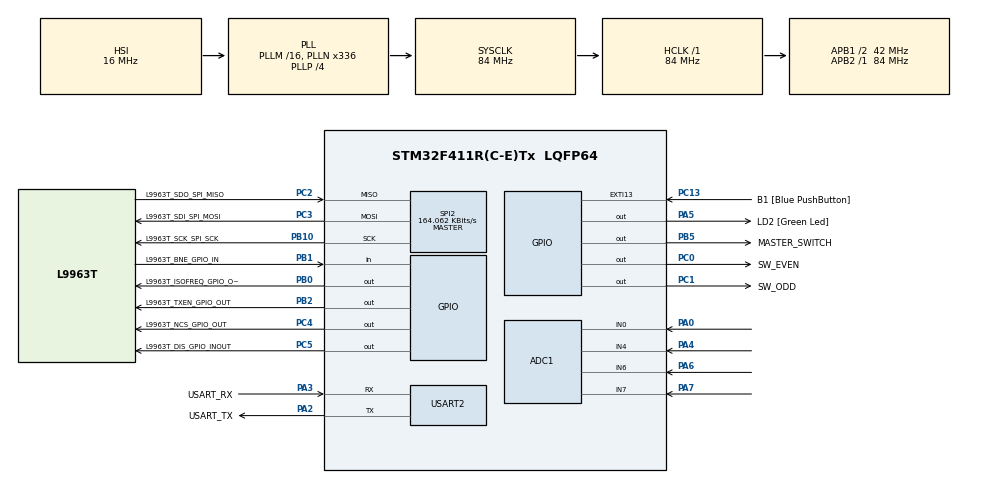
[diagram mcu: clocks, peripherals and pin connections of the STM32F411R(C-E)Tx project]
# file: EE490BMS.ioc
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ADC1.Channel-3\#ChannelRegularConversion=ADC_CHANNEL_0
ADC1.Channel-4\#ChannelRegularConversion=ADC_CHANNEL_4
ADC1.Channel-5\#ChannelRegularConversion=ADC_CHANNEL_6
ADC1.Channel-6\#ChannelRegularConversion=ADC_CHANNEL_7
ADC1.ContinuousConvMode=ENABLE
ADC1.DMAContinuousRequests=ENABLE
ADC1.DiscontinuousConvMode=DISABLE
ADC1.EOCSelection=ADC_EOC_SINGLE_CONV
ADC1.ExternalTrigConv=ADC_SOFTWARE_START
ADC1.InjNumberOfConversion=0
ADC1.NbrOfConversion=4
ADC1.NbrOfConversionFlag=1
ADC1.Rank-3\#ChannelRegularConversion=1
ADC1.Rank-4\#ChannelRegularConversion=2
ADC1.Rank-5\#ChannelRegularConversion=3
ADC1.Rank-6\#ChannelRegularConversion=4
ADC1.SamplingTime-3\#ChannelRegularConversion=ADC_SAMPLETIME_3CYCLES
ADC1.SamplingTime-4\#ChannelRegularConversion=ADC_SAMPLETIME_3CYCLES
ADC1.SamplingTime-5\#ChannelRegularConversion=ADC_SAMPLETIME_3CYCLES
ADC1.SamplingTime-6\#ChannelRegularConversion=ADC_SAMPLETIME_3CYCLES
ADC1.ScanConvMode=ENABLE
ADC1.master=1
Dma.ADC1.0.Direction=DMA_PERIPH_TO_MEMORY
Dma.ADC1.0.FIFOMode=DMA_FIFOMODE_DISABLE
Dma.ADC1.0.Instance=DMA2_Stream0
Dma.ADC1.0.MemDataAlignment=DMA_MDATAALIGN_WORD
Dma.ADC1.0.MemInc=DMA_MINC_ENABLE
Dma.ADC1.0.Mode=DMA_CIRCULAR
Dma.ADC1.0.PeriphDataAlignment=DMA_PDATAALIGN_WORD
Dma.ADC1.0.PeriphInc=DMA_PINC_DISABLE
Dma.ADC1.0.Priority=DMA_PRIORITY_LOW
Dma.Request0=ADC1
FREERTOS.Tasks01=defaultTask,24,128,StartDefaultTask,Default,NULL,Dynamic,NULL,NULL
FREERTOS.configUSE_NEWLIB_REENTRANT=1
Mcu.Family=STM32F4
Mcu.Name=STM32F411R(C-E)Tx
Mcu.Package=LQFP64
NVIC.DMA2_Stream0_IRQn=true\:5\:0\:false\:false\:true\:true\:false\:true\:true
NVIC.PriorityGroup=NVIC_PRIORITYGROUP_4
NVIC.TIM5_IRQn=true\:15\:0\:false\:false\:true\:false\:false\:true\:true
NVIC.TimeBase=TIM5_IRQn
NVIC.TimeBaseIP=TIM5
PA0-WKUP.Signal=ADCx_IN0
PA13.GPIO_Label=TMS
PA13.Mode=Serial_Wire
PA13.Signal=SYS_JTMS-SWDIO
PA14.GPIO_Label=TCK
PA14.Mode=Serial_Wire
PA14.Signal=SYS_JTCK-SWCLK
PA2.GPIO_Label=USART_TX
PA2.Mode=Asynchronous
PA2.Signal=USART2_TX
PA3.GPIO_Label=USART_RX
PA3.Mode=Asynchronous
PA3.Signal=USART2_RX
PA4.Signal=ADCx_IN4
PA5.GPIO_Label=LD2 [Green Led]
PA5.Signal=GPIO_Output
PA6.Signal=ADCx_IN6
PA7.Signal=ADCx_IN7
PB0.GPIO_Label=L9963T_ISOFREQ_GPIO_OUT
PB0.Signal=GPIO_Output
PB1.GPIO_Label=L9963T_BNE_GPIO_IN
PB1.Signal=GPIO_Input
PB10.GPIO_Label=L9963T_SCK_SPI_SCK
PB10.Mode=Full_Duplex_Master
PB10.Signal=SPI2_SCK
PB2.GPIO_Label=L9963T_TXEN_GPIO_OUT
PB2.Signal=GPIO_Output
PB3.GPIO_Label=SWO
PB3.Signal=SYS_JTDO-SWO
PB5.GPIO_Label=MASTER_SWITCH
PB5.Signal=GPIO_Output
PC0.GPIO_Label=SW_EVEN
PC0.Signal=GPIO_Output
PC1.GPIO_Label=SW_ODD
PC1.Signal=GPIO_Output
PC13-ANTI_TAMP.GPIO_Label=B1 [Blue PushButton]
PC13-ANTI_TAMP.GPIO_ModeDefaultEXTI=GPIO_MODE_IT_FALLING
PC13-ANTI_TAMP.Signal=GPXTI13
PC14-OSC32_IN.Signal=RCC_OSC32_IN
PC15-OSC32_OUT.Signal=RCC_OSC32_OUT
PC2.GPIO_Label=L9963T_SDO_SPI_MISO
PC2.Mode=Full_Duplex_Master
PC2.Signal=SPI2_MISO
PC3.GPIO_Label=L9963T_SDI_SPI_MOSI
PC3.Mode=Full_Duplex_Master
PC3.Signal=SPI2_MOSI
PC4.GPIO_Label=L9963T_NCS_GPIO_OUT
PC4.Signal=GPIO_Output
PC5.GPIO_Label=L9963T_DIS_GPIO_INOUT
PC5.Signal=GPIO_Output
PH0\ -\ OSC_IN.Mode=HSE-External-Oscillator
PH0\ -\ OSC_IN.Signal=RCC_OSC_IN
PH1\ -\ OSC_OUT.Mode=HSE-External-Oscillator
PH1\ -\ OSC_OUT.Signal=RCC_OSC_OUT
ProjectManager.HeapSize=0x200
ProjectManager.StackSize=0x400
ProjectManager.TargetToolchain=STM32CubeIDE
RCC.48MHZClocksFreq_Value=84000000
RCC.AHBFreq_Value=84000000
RCC.APB1CLKDivider=RCC_HCLK_DIV2
RCC.APB1Freq_Value=42000000
RCC.APB1TimFreq_Value=84000000
RCC.APB2Freq_Value=84000000
RCC.APB2TimFreq_Value=84000000
RCC.CortexFreq_Value=84000000
RCC.FLatency-AdvancedSettings=FLASH_LATENCY_2
RCC.HCLKFreq_Value=84000000
RCC.HSE_VALUE=8000000
RCC.HSI_VALUE=16000000
RCC.LSE_VALUE=32768
RCC.PLLN=336
RCC.PLLP=RCC_PLLP_DIV4
RCC.SYSCLKFreq_VALUE=84000000
RCC.SYSCLKSource=RCC_SYSCLKSOURCE_PLLCLK
RCC.VCOOutputFreq_Value=336000000
SH.ADCx_IN0.0=ADC1_IN0,IN0
SH.ADCx_IN4.0=ADC1_IN4,IN4
SH.ADCx_IN6.0=ADC1_IN6,IN6
SH.ADCx_IN7.0=ADC1_IN7,IN7
SPI2.BaudRatePrescaler=SPI_BAUDRATEPRESCALER_256
SPI2.CLKPhase=SPI_PHASE_2EDGE
SPI2.CalculateBaudRate=164.062 KBits/s
SPI2.Direction=SPI_DIRECTION_2LINES
SPI2.Mode=SPI_MODE_MASTER
SPI2.VirtualType=VM_MASTER
TIM1.Period=1000-1
TIM1.Prescaler=84-1
USART2.VirtualMode=VM_ASYNC
VP_FREERTOS_VS_CMSIS_V2.Mode=CMSIS_V2
VP_SYS_VS_tim5.Mode=TIM5
VP_TIM1_VS_ClockSourceINT.Mode=Internal
board=NUCLEO-F411RE

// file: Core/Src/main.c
/* USER CODE BEGIN Header */
/**
  ******************************************************************************
  * @file           : main.c
  * @brief          : Main program body
  ******************************************************************************
  * @attention
  *
  * Copyright (c) 2026 STMicroelectronics.
  * All rights reserved.
  *
  * This software is licensed under terms that can be found in the LICENSE file
  * in the root directory of this software component.
  * If no LICENSE file comes with this software, it is provided AS-IS.
  *
  ******************************************************************************
  */
/* USER CODE END Header */
#include "main.h"
#include "cmsis_os.h"

/* USER CODE BEGIN Includes */
#include "L9963E_utils.h"
#include "bms_app.h"
#include <stdint.h>
#include "THERMISTOR.h"
/* USER CODE END Includes */

ADC_HandleTypeDef hadc1;
DMA_HandleTypeDef hdma_adc1;

SPI_HandleTypeDef hspi2;

TIM_HandleTypeDef htim1;

UART_HandleTypeDef huart2;

/* Definitions for defaultTask */
osThreadId_t defaultTaskHandle;
const osThreadAttr_t defaultTask_attributes = {
  .name = "defaultTask",
  .stack_size = 128 * 4,
  .priority = (osPriority_t) osPriorityNormal,
};

void SystemClock_Config(void);
static void MX_GPIO_Init(void);
static void MX_DMA_Init(void);
static void MX_USART2_UART_Init(void);
static void MX_TIM1_Init(void);
static void MX_SPI2_Init(void);
static void MX_ADC1_Init(void);
void StartDefaultTask(void *argument);

int main(void)
{

  /* MCU Configuration--------------------------------------------------------*/

  /* Reset of all peripherals, Initializes the Flash interface and the Systick. */
  HAL_Init();

  /* Configure the system clock */
  SystemClock_Config();

  /* Initialize all configured peripherals */
  MX_GPIO_Init();
  MX_DMA_Init();
  MX_USART2_UART_Init();
  MX_TIM1_Init();
  MX_SPI2_Init();
  MX_ADC1_Init();
  /* USER CODE BEGIN 2 */

  char telemetryBuffer[256];
  int telemetryLength;
  uint32_t adcBuffer[4] = {0};	//0 is shunt current, 1-3 is temp
  float current = 0;
  float temp1 = 0;
  float temp2 = 0;
  float temp3 = 0;

  // Flash LED on board for reference and startup
  HAL_GPIO_WritePin(LD2_GPIO_Port, LD2_Pin, GPIO_PIN_SET);
  HAL_Delay(100);
  HAL_GPIO_WritePin(LD2_GPIO_Port,  LD2_Pin, GPIO_PIN_RESET);

  //Initialize global variable states
  BMS_App_Init();

  //Initialize and address the L9963E AFE.
  L9963E_utils_init();

  //Known SOC starting value
  BMS_App_SetSocReference(80.0f);

  HAL_GPIO_WritePin(SW_EVEN_GPIO_Port, SW_EVEN_Pin, GPIO_PIN_RESET);
  HAL_GPIO_WritePin(SW_ODD_GPIO_Port, SW_ODD_Pin, GPIO_PIN_RESET);

  //Used to test switching circuit

//  while (1) {
//	  HAL_GPIO_WritePin(SW_EVEN_GPIO_Port, SW_EVEN_Pin, GPIO_PIN_SET);
//	  HAL_Delay(10);
//	  HAL_GPIO_WritePin(SW_EVEN_GPIO_Port, SW_EVEN_Pin, GPIO_PIN_RESET);
//	  HAL_Delay(10);
//
//	  HAL_GPIO_WritePin(SW_ODD_GPIO_Port, SW_ODD_Pin, GPIO_PIN_SET);
//	  HAL_Delay(10);
//	  HAL_GPIO_WritePin(SW_ODD_GPIO_Port, SW_ODD_Pin, GPIO_PIN_RESET);
//	  HAL_Delay(10);
//  }

  HAL_NVIC_DisableIRQ(DMA2_Stream0_IRQn);
  HAL_ADC_Start_DMA(&hadc1, adcBuffer, 4);	//Start ADC with DMA of size 4

  // Super loop
  while (1)
  {
	  current = (adcBuffer[0]/(4096e0f))*6000;	// To mA
	  temp1 = Thermistor_ReadF(adcBuffer[1], 1);
	  temp2 = Thermistor_ReadF(adcBuffer[2], 0);
	  temp3 = Thermistor_ReadF(adcBuffer[3], 0);

	  BMS_App_SetExternalMeasurements(current, temp1, temp2, temp3);

	  BMS_App_UpdateAll();

	  const BMS_FaultData_t *faultData = BMS_App_GetFaultData();

	  if ((faultData != NULL) && !faultData->faultActive &&
			  temp1 < 85 && temp2 < 85 && temp3 < 85 && current < 2000)
	  {
	      HAL_GPIO_WritePin(MASTER_SWITCH_GPIO_Port, MASTER_SWITCH_Pin, GPIO_PIN_SET);
	  }
	  else
	  {
	      HAL_GPIO_WritePin(MASTER_SWITCH_GPIO_Port, MASTER_SWITCH_Pin, GPIO_PIN_RESET);
	  }

	  telemetryLength = BMS_App_FormatTelemetry(telemetryBuffer, sizeof(telemetryBuffer));

      if (telemetryLength > 0)
      {
          /*
           * snprintf() returns the number of characters
           * that would have been written.
           *
           * Limit transmission to the bytes actually
           * stored in telemetryBuffer.
           */
          uint16_t transmitLength = (telemetryLength < (int)sizeof(telemetryBuffer)) ?
              (uint16_t)telemetryLength :
              (uint16_t) (sizeof(telemetryBuffer) - 1U);

          HAL_UART_Transmit(&huart2, (uint8_t *)telemetryBuffer, transmitLength, HAL_MAX_DELAY);
      }

      //Keep Coulomb-counter servicing within the intended approximately one-second interval.
	  HAL_GPIO_WritePin(SW_EVEN_GPIO_Port, SW_EVEN_Pin, GPIO_PIN_SET);
	  HAL_Delay(10);
	  HAL_GPIO_WritePin(SW_EVEN_GPIO_Port, SW_EVEN_Pin, GPIO_PIN_RESET);
	  HAL_Delay(10);

	  HAL_GPIO_WritePin(SW_ODD_GPIO_Port, SW_ODD_Pin, GPIO_PIN_SET);
	  HAL_Delay(10);
	  HAL_GPIO_WritePin(SW_ODD_GPIO_Port, SW_ODD_Pin, GPIO_PIN_RESET);
	  HAL_Delay(10);
  }

  /* USER CODE END 2 */

  /* Init scheduler */
  osKernelInitialize();

  /* Create the thread(s) */
  /* creation of defaultTask */
  defaultTaskHandle = osThreadNew(StartDefaultTask, NULL, &defaultTask_attributes);

  /* Start scheduler */
  osKernelStart();

  /* We should never get here as control is now taken by the scheduler */

  /* Infinite loop */
  while (1)
  {

  }
}

void SystemClock_Config(void)
{
  RCC_OscInitTypeDef RCC_OscInitStruct = {0};
  RCC_ClkInitTypeDef RCC_ClkInitStruct = {0};

  /** Configure the main internal regulator output voltage
  */
  __HAL_RCC_PWR_CLK_ENABLE();
  __HAL_PWR_VOLTAGESCALING_CONFIG(PWR_REGULATOR_VOLTAGE_SCALE1);

  /** Initializes the RCC Oscillators according to the specified parameters
  * in the RCC_OscInitTypeDef structure.
  */
  RCC_OscInitStruct.OscillatorType = RCC_OSCILLATORTYPE_HSI;
  RCC_OscInitStruct.HSIState = RCC_HSI_ON;
  RCC_OscInitStruct.HSICalibrationValue = RCC_HSICALIBRATION_DEFAULT;
  RCC_OscInitStruct.PLL.PLLState = RCC_PLL_ON;
  RCC_OscInitStruct.PLL.PLLSource = RCC_PLLSOURCE_HSI;
  RCC_OscInitStruct.PLL.PLLM = 16;
  RCC_OscInitStruct.PLL.PLLN = 336;
  RCC_OscInitStruct.PLL.PLLP = RCC_PLLP_DIV4;
  RCC_OscInitStruct.PLL.PLLQ = 4;
  if (HAL_RCC_OscConfig(&RCC_OscInitStruct) != HAL_OK)
  {
    Error_Handler();
  }

  /** Initializes the CPU, AHB and APB buses clocks
  */
  RCC_ClkInitStruct.ClockType = RCC_CLOCKTYPE_HCLK|RCC_CLOCKTYPE_SYSCLK
                              |RCC_CLOCKTYPE_PCLK1|RCC_CLOCKTYPE_PCLK2;
  RCC_ClkInitStruct.SYSCLKSource = RCC_SYSCLKSOURCE_PLLCLK;
  RCC_ClkInitStruct.AHBCLKDivider = RCC_SYSCLK_DIV1;
  RCC_ClkInitStruct.APB1CLKDivider = RCC_HCLK_DIV2;
  RCC_ClkInitStruct.APB2CLKDivider = RCC_HCLK_DIV1;

  if (HAL_RCC_ClockConfig(&RCC_ClkInitStruct, FLASH_LATENCY_2) != HAL_OK)
  {
    Error_Handler();
  }
}

static void MX_ADC1_Init(void)
{

  ADC_ChannelConfTypeDef sConfig = {0};

  /** Configure the global features of the ADC (Clock, Resolution, Data Alignment and number of conversion)
  */
  hadc1.Instance = ADC1;
  hadc1.Init.ClockPrescaler = ADC_CLOCK_SYNC_PCLK_DIV4;
  hadc1.Init.Resolution = ADC_RESOLUTION_12B;
  hadc1.Init.ScanConvMode = ENABLE;
  hadc1.Init.ContinuousConvMode = ENABLE;
  hadc1.Init.DiscontinuousConvMode = DISABLE;
  hadc1.Init.ExternalTrigConvEdge = ADC_EXTERNALTRIGCONVEDGE_NONE;
  hadc1.Init.ExternalTrigConv = ADC_SOFTWARE_START;
  hadc1.Init.DataAlign = ADC_DATAALIGN_RIGHT;
  hadc1.Init.NbrOfConversion = 4;
  hadc1.Init.DMAContinuousRequests = ENABLE;
  hadc1.Init.EOCSelection = ADC_EOC_SINGLE_CONV;
  if (HAL_ADC_Init(&hadc1) != HAL_OK)
  {
    Error_Handler();
  }

  /** Configure for the selected ADC regular channel its corresponding rank in the sequencer and its sample time.
  */
  sConfig.Channel = ADC_CHANNEL_0;
  sConfig.Rank = 1;
  sConfig.SamplingTime = ADC_SAMPLETIME_3CYCLES;
  if (HAL_ADC_ConfigChannel(&hadc1, &sConfig) != HAL_OK)
  {
    Error_Handler();
  }

  /** Configure for the selected ADC regular channel its corresponding rank in the sequencer and its sample time.
  */
  sConfig.Channel = ADC_CHANNEL_4;
  sConfig.Rank = 2;
  if (HAL_ADC_ConfigChannel(&hadc1, &sConfig) != HAL_OK)
  {
    Error_Handler();
  }

  /** Configure for the selected ADC regular channel its corresponding rank in the sequencer and its sample time.
  */
  sConfig.Channel = ADC_CHANNEL_6;
  sConfig.Rank = 3;
  if (HAL_ADC_ConfigChannel(&hadc1, &sConfig) != HAL_OK)
  {
    Error_Handler();
  }

  /** Configure for the selected ADC regular channel its corresponding rank in the sequencer and its sample time.
  */
  sConfig.Channel = ADC_CHANNEL_7;
  sConfig.Rank = 4;
  if (HAL_ADC_ConfigChannel(&hadc1, &sConfig) != HAL_OK)
  {
    Error_Handler();
  }

}

static void MX_SPI2_Init(void)
{

  /* SPI2 parameter configuration*/
  hspi2.Instance = SPI2;
  hspi2.Init.Mode = SPI_MODE_MASTER;
  hspi2.Init.Direction = SPI_DIRECTION_2LINES;
  hspi2.Init.DataSize = SPI_DATASIZE_8BIT;
  hspi2.Init.CLKPolarity = SPI_POLARITY_LOW;
  hspi2.Init.CLKPhase = SPI_PHASE_2EDGE;
  hspi2.Init.NSS = SPI_NSS_SOFT;
  hspi2.Init.BaudRatePrescaler = SPI_BAUDRATEPRESCALER_256;
  hspi2.Init.FirstBit = SPI_FIRSTBIT_MSB;
  hspi2.Init.TIMode = SPI_TIMODE_DISABLE;
  hspi2.Init.CRCCalculation = SPI_CRCCALCULATION_DISABLE;
  hspi2.Init.CRCPolynomial = 10;
  if (HAL_SPI_Init(&hspi2) != HAL_OK)
  {
    Error_Handler();
  }

}

static void MX_TIM1_Init(void)
{

  TIM_ClockConfigTypeDef sClockSourceConfig = {0};
  TIM_MasterConfigTypeDef sMasterConfig = {0};

  htim1.Instance = TIM1;
  htim1.Init.Prescaler = 84-1;
  htim1.Init.CounterMode = TIM_COUNTERMODE_UP;
  htim1.Init.Period = 1000-1;
  htim1.Init.ClockDivision = TIM_CLOCKDIVISION_DIV1;
  htim1.Init.RepetitionCounter = 0;
  htim1.Init.AutoReloadPreload = TIM_AUTORELOAD_PRELOAD_DISABLE;
  if (HAL_TIM_Base_Init(&htim1) != HAL_OK)
  {
    Error_Handler();
  }
  sClockSourceConfig.ClockSource = TIM_CLOCKSOURCE_INTERNAL;
  if (HAL_TIM_ConfigClockSource(&htim1, &sClockSourceConfig) != HAL_OK)
  {
    Error_Handler();
  }
  sMasterConfig.MasterOutputTrigger = TIM_TRGO_RESET;
  sMasterConfig.MasterSlaveMode = TIM_MASTERSLAVEMODE_DISABLE;
  if (HAL_TIMEx_MasterConfigSynchronization(&htim1, &sMasterConfig) != HAL_OK)
  {
    Error_Handler();
  }

}

static void MX_USART2_UART_Init(void)
{

  huart2.Instance = USART2;
  huart2.Init.BaudRate = 115200;
  huart2.Init.WordLength = UART_WORDLENGTH_8B;
  huart2.Init.StopBits = UART_STOPBITS_1;
  huart2.Init.Parity = UART_PARITY_NONE;
  huart2.Init.Mode = UART_MODE_TX_RX;
  huart2.Init.HwFlowCtl = UART_HWCONTROL_NONE;
  huart2.Init.OverSampling = UART_OVERSAMPLING_16;
  if (HAL_UART_Init(&huart2) != HAL_OK)
  {
    Error_Handler();
  }

}

static void MX_DMA_Init(void)
{

  /* DMA controller clock enable */
  __HAL_RCC_DMA2_CLK_ENABLE();

  /* DMA interrupt init */
  /* DMA2_Stream0_IRQn interrupt configuration */
  HAL_NVIC_SetPriority(DMA2_Stream0_IRQn, 5, 0);
  HAL_NVIC_EnableIRQ(DMA2_Stream0_IRQn);

}

static void MX_GPIO_Init(void)
{
  GPIO_InitTypeDef GPIO_InitStruct = {0};

  /* GPIO Ports Clock Enable */
  __HAL_RCC_GPIOC_CLK_ENABLE();
  __HAL_RCC_GPIOH_CLK_ENABLE();
  __HAL_RCC_GPIOA_CLK_ENABLE();
  __HAL_RCC_GPIOB_CLK_ENABLE();

  /*Configure GPIO pin Output Level */
  HAL_GPIO_WritePin(GPIOC, SW_EVEN_Pin|SW_ODD_Pin|L9963T_NCS_GPIO_OUT_Pin|L9963T_DIS_GPIO_INOUT_Pin, GPIO_PIN_RESET);

  /*Configure GPIO pin Output Level */
  HAL_GPIO_WritePin(LD2_GPIO_Port, LD2_Pin, GPIO_PIN_RESET);

  /*Configure GPIO pin Output Level */
  HAL_GPIO_WritePin(GPIOB, L9963T_ISOFREQ_GPIO_OUT_Pin|L9963T_TXEN_GPIO_OUT_Pin|MASTER_SWITCH_Pin, GPIO_PIN_RESET);

  /*Configure GPIO pin : B1_Pin */
  GPIO_InitStruct.Pin = B1_Pin;
  GPIO_InitStruct.Mode = GPIO_MODE_IT_FALLING;
  GPIO_InitStruct.Pull = GPIO_NOPULL;
  HAL_GPIO_Init(B1_GPIO_Port, &GPIO_InitStruct);

  /*Configure GPIO pins : SW_EVEN_Pin SW_ODD_Pin L9963T_NCS_GPIO_OUT_Pin L9963T_DIS_GPIO_INOUT_Pin */
  GPIO_InitStruct.Pin = SW_EVEN_Pin|SW_ODD_Pin|L9963T_NCS_GPIO_OUT_Pin|L9963T_DIS_GPIO_INOUT_Pin;
  GPIO_InitStruct.Mode = GPIO_MODE_OUTPUT_PP;
  GPIO_InitStruct.Pull = GPIO_NOPULL;
  GPIO_InitStruct.Speed = GPIO_SPEED_FREQ_LOW;
  HAL_GPIO_Init(GPIOC, &GPIO_InitStruct);

  /*Configure GPIO pin : LD2_Pin */
  GPIO_InitStruct.Pin = LD2_Pin;
  GPIO_InitStruct.Mode = GPIO_MODE_OUTPUT_PP;
  GPIO_InitStruct.Pull = GPIO_NOPULL;
  GPIO_InitStruct.Speed = GPIO_SPEED_FREQ_LOW;
  HAL_GPIO_Init(LD2_GPIO_Port, &GPIO_InitStruct);

  /*Configure GPIO pins : L9963T_ISOFREQ_GPIO_OUT_Pin L9963T_TXEN_GPIO_OUT_Pin MASTER_SWITCH_Pin */
  GPIO_InitStruct.Pin = L9963T_ISOFREQ_GPIO_OUT_Pin|L9963T_TXEN_GPIO_OUT_Pin|MASTER_SWITCH_Pin;
  GPIO_InitStruct.Mode = GPIO_MODE_OUTPUT_PP;
  GPIO_InitStruct.Pull = GPIO_NOPULL;
  GPIO_InitStruct.Speed = GPIO_SPEED_FREQ_LOW;
  HAL_GPIO_Init(GPIOB, &GPIO_InitStruct);

  /*Configure GPIO pin : L9963T_BNE_GPIO_IN_Pin */
  GPIO_InitStruct.Pin = L9963T_BNE_GPIO_IN_Pin;
  GPIO_InitStruct.Mode = GPIO_MODE_INPUT;
  GPIO_InitStruct.Pull = GPIO_NOPULL;
  HAL_GPIO_Init(L9963T_BNE_GPIO_IN_GPIO_Port, &GPIO_InitStruct);

}

void StartDefaultTask(void *argument)
{
  for (;;)
  {
    osDelay(1);
  }
}

void HAL_TIM_PeriodElapsedCallback(TIM_HandleTypeDef *htim)
{
  if (htim->Instance == TIM5)
  {
    HAL_IncTick();
  }
}

void Error_Handler(void)
{
  __disable_irq();
  while (1)
  {
  }
}
